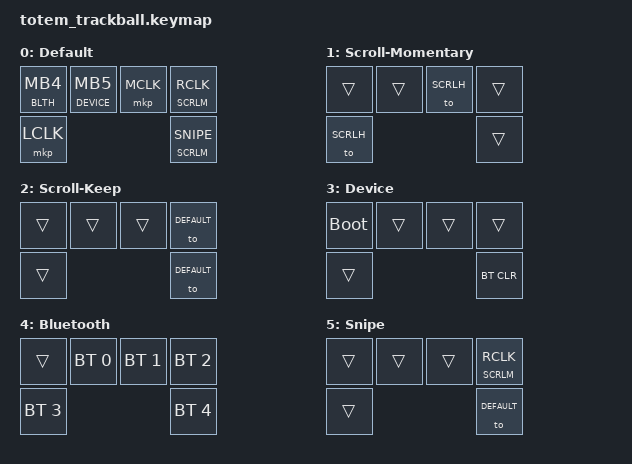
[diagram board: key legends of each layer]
#include <behaviors.dtsi>
#include <dt-bindings/zmk/bt.h>
#include <dt-bindings/zmk/keys.h>
#include <dt-bindings/zmk/pointing.h>
#include <dt-bindings/zmk/outputs.h>

// #include <dt-bindings/zmk/mouse.h>

#define DEFAULT 0
#define SCRLM 1
#define SCRLH 2
#define DEVICE 3
#define BLTH 4
#define SNIPE 5

/ {
  combos {
    compatible = "zmk,combos";
    combo_esc {
      timeout-ms = <50>;
      key-positions = <2 3>;
      bindings = <&mkp RCLK>;
    };
  };
  behaviors {
    ltm: layer-tap-momentary {
      compatible = "zmk,behavior-hold-tap";
      #binding-cells = <2>;
      flavor = "tap-preferred";
      tapping-term-ms = <200>;
      bindings = <&mo>, <&mkp>;
    };
    lth: layer-tap-hold-while-undecided {
      compatible = "zmk,behavior-hold-tap";
      #binding-cells = <2>;
      flavor = "hold-preferred";
      hold-while-undecided;
      tapping-term-ms = <150>;
      bindings = <&mo>, <&mkp>;
    };
    mto: momentary-or-toggle {
      compatible = "zmk,behavior-hold-tap";
      #binding-cells = <2>;
      flavor = "hold-preferred";
      hold-while-undecided;
      tapping-term-ms = <200>;
      bindings = <&mo>, <&to>;
    };
  };
  keymap {
    compatible = "zmk,keymap";
    default_layer {
      display-name = "Default";
      bindings = <

//    ╭─────╮ ╭─────╮ ╭─────╮ ╭─────╮ 
//    │     │ │     │ │     │ │     │ 
//    │     │ ╰─────╯ ╰─────╯ │     │ 
//    ╰─────╯     =======     ╰─────╯
//    ╭─────╮   /         \   ╭─────╮
//    │     │  <           >  │     │
//    │    󰼐│   \         /   │     │
//    │     │     =======     │     │
//    ╰─────╯                 ╰─────╯

        &ltm BLTH MB4 &ltm DEVICE MB5 &mkp MCLK &lth SCRLM RCLK
        &mkp LCLK                               &mto SCRLM SNIPE
      >;
    };
    scroll_tap_layer {
      display-name = "Scroll-Momentary";
      bindings = <

//    ╭─────╮ ╭─────╮ ╭─────╮ ╭─────╮ 
//    │     │ │     │ │     │ │     │ 
//    │     │ ╰─────╯ ╰─────╯ │     │ 
//    ╰─────╯     =======     ╰─────╯
//    ╭─────╮   /         \   ╭─────╮
//    │     │  <           >  │     │
//    │    󰼐│   \         /   │     │
//    │     │     =======     │     │
//    ╰─────╯                 ╰─────╯

        &trans &trans &to SCRLH &trans
        &to SCRLH               &trans
      >;
    };
    scroll_hold_layer {
      display-name = "Scroll-Keep";
      bindings = <

//    ╭─────╮ ╭─────╮ ╭─────╮ ╭─────╮ 
//    │     │ │     │ │     │ │     │ 
//    │     │ ╰─────╯ ╰─────╯ │     │ 
//    ╰─────╯     =======     ╰─────╯
//    ╭─────╮   /         \   ╭─────╮
//    │     │  <           >  │     │
//    │    󰼐│   \         /   │     │
//    │     │     =======     │     │
//    ╰─────╯                 ╰─────╯

        &trans &trans &trans &to DEFAULT
        &trans               &to DEFAULT
      >;
    };
    device_layer {
      display-name = "Device";
      bindings = <

//    ╭─────╮ ╭─────╮ ╭─────╮ ╭─────╮ 
//    │     │ │     │ │     │ │     │ 
//    │     │ ╰─────╯ ╰─────╯ │     │ 
//    ╰─────╯     =======     ╰─────╯
//    ╭─────╮   /         \   ╭─────╮
//    │     │  <           >  │     │
//    │    󰼐│   \         /   │     │
//    │     │     =======     │     │
//    ╰─────╯                 ╰─────╯

        &bootloader &trans &trans &trans
        &trans                    &bt BT_CLR
      >;
    };
    bluetooth_layer {
      display-name = "Bluetooth";
      bindings = <

//    ╭─────╮ ╭─────╮ ╭─────╮ ╭─────╮ 
//    │     │ │     │ │     │ │     │ 
//    │     │ ╰─────╯ ╰─────╯ │     │ 
//    ╰─────╯     =======     ╰─────╯
//    ╭─────╮   /         \   ╭─────╮
//    │     │  <           >  │     │
//    │    󰼐│   \         /   │     │
//    │     │     =======     │     │
//    ╰─────╯                 ╰─────╯

        &trans &bt BT_SEL 0 &bt BT_SEL 1 &bt BT_SEL 2
        &bt BT_SEL 3                     &bt BT_SEL 4
      >;
    };
    snipe_layer {
      display-name = "Snipe";
      bindings = <

//    ╭─────╮ ╭─────╮ ╭─────╮ ╭─────╮ 
//    │     │ │     │ │     │ │     │ 
//    │     │ ╰─────╯ ╰─────╯ │     │ 
//    ╰─────╯     =======     ╰─────╯
//    ╭─────╮   /         \   ╭─────╮
//    │     │  <           >  │     │
//    │    󰼐│   \         /   │     │
//    │     │     =======     │     │
//    ╰─────╯                 ╰─────╯

        &trans &trans &trans &lth SCRLM RCLK
        &trans               &to DEFAULT
      >;
    };
  };
};
